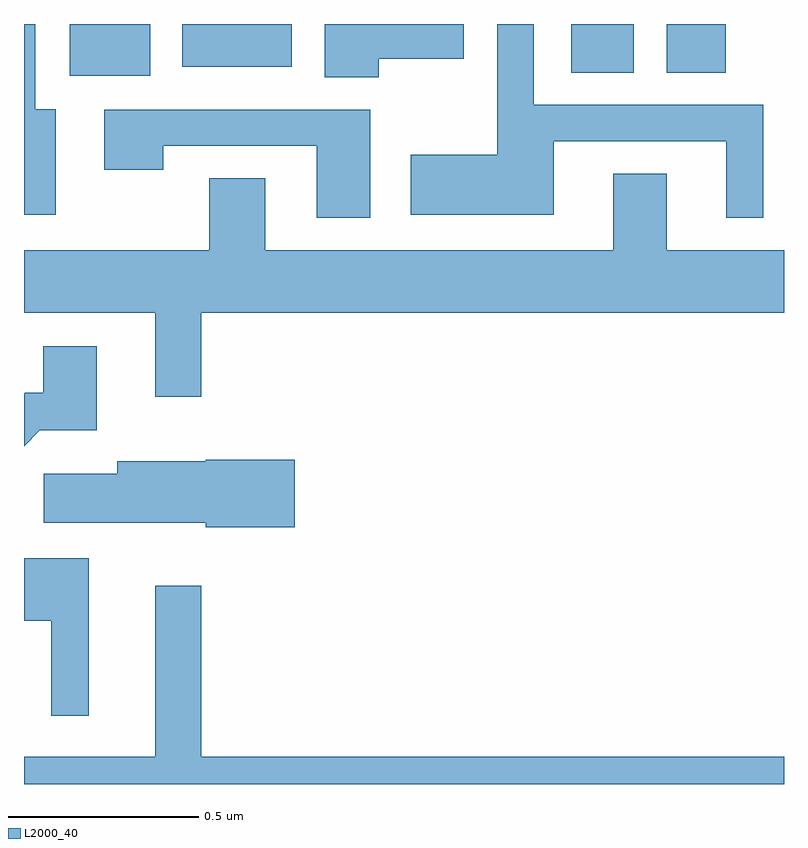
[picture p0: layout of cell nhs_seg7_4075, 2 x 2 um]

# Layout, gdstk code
import gdstk
lib = gdstk.Library(unit=1e-6, precision=1e-09)
def R(c, l, rs):  # rectangles x0, y0, x1, y1
    for r in rs: c.add(gdstk.rectangle(r[:2], r[2:], *l))
def P(c, l, *ps):  # polygons
    for p in ps: c.add(gdstk.Polygon(p, *l))
L2000_40 = (2000, 40)

nhs_seg7_4075 = lib.new_cell('nhs_seg7_4075')
R(nhs_seg7_4075, L2000_40, [(167.12,1043.864,167.332,1044), (168.44,1043.872,168.604,1044), (168.692,1043.872,168.847,1044), (167.417,1043.888,167.704,1044)])
P(nhs_seg7_4075, L2000_40, [(167.083,1043.776),(167.029,1043.776),(167.029,1044),(167,1044),(167,1043.498),(167.083,1043.498)],
  [(167.934,1043.909),(168.157,1043.909),(168.157,1044),(167.792,1044),(167.792,1043.86),(167.934,1043.86)],
  [(168.946,1043.787),(168.342,1043.787),(168.342,1044),(168.246,1044),(168.246,1043.656),(168.018,1043.656),(168.018,1043.498),(168.394,1043.498),(168.394,1043.691),(168.848,1043.691),(168.848,1043.49),(168.946,1043.49)],
  [(167.911,1043.775),(167.211,1043.775),(167.211,1043.616),(167.367,1043.616),(167.367,1043.679),(167.771,1043.679),(167.771,1043.49),(167.911,1043.49)],
  [(167.467,1043.24),(169,1043.24),(169,1043.404),(168.691,1043.404),(168.691,1043.606),(168.551,1043.606),(168.551,1043.404),(167.635,1043.404),(167.635,1043.594),(167.488,1043.594),(167.488,1043.404),(167,1043.404),(167,1043.24),(167.345,1043.24),(167.345,1043.019),(167.467,1043.019)],
  [(167.042,1042.931),(167.191,1042.931),(167.191,1043.152),(167.051,1043.152),(167.051,1043.029),(167.002,1043.029),(167,1043.027),(167,1042.889)],
  [(167.713,1042.853),(167.478,1042.853),(167.478,1042.849),(167.246,1042.849),(167.246,1042.817),(167.052,1042.817),(167.052,1042.688),(167.478,1042.688),(167.478,1042.676),(167.713,1042.676)],
  [(167.17,1042.594),(167,1042.594),(167,1042.43),(167.072,1042.43),(167.072,1042.179),(167.17,1042.179)],
  [(169,1042.072),(167.467,1042.072),(167.467,1042.522),(167.345,1042.522),(167.345,1042.072),(167,1042.072),(167,1042),(169,1042)])

lib.write_gds('nhs_seg7_4075.gds')
